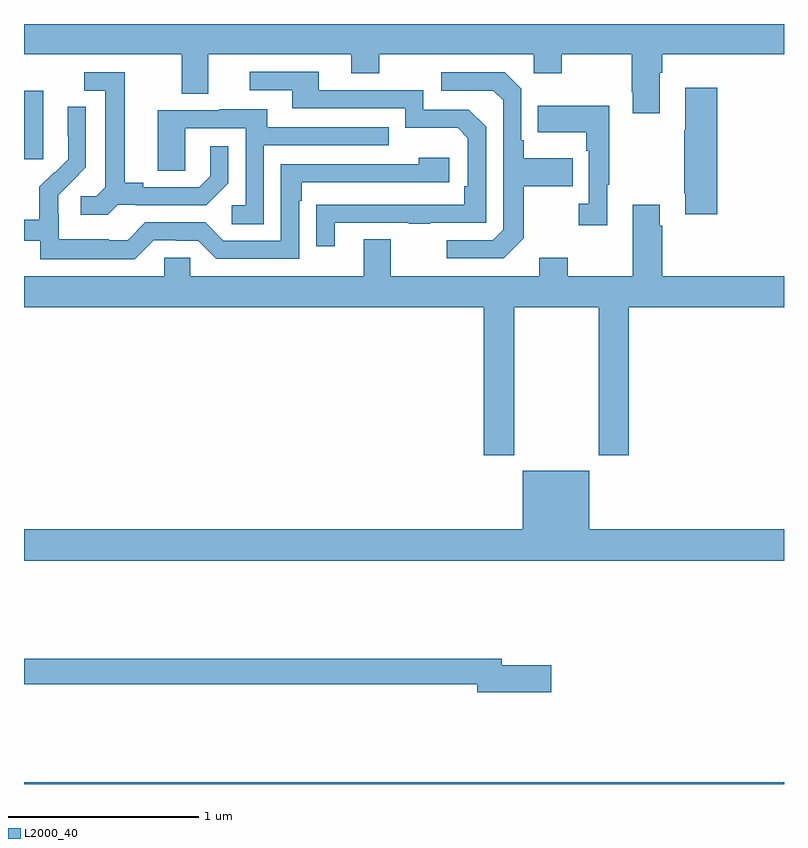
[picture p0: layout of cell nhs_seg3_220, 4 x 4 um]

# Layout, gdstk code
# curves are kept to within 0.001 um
import gdstk
lib = gdstk.Library(unit=1e-6, precision=1e-09)
def R(c, l, rs):  # rectangles x0, y0, x1, y1
    for r in rs: c.add(gdstk.rectangle(r[:2], r[2:], *l))
def P(c, l, *ps):  # polygons
    for p in ps: c.add(gdstk.Polygon(p, *l))
L2000_40 = (2000, 40)

nhs_seg3_220 = lib.new_cell('nhs_seg3_220')
R(nhs_seg3_220, L2000_40, [(121,706.4,125,706.408), (121,709.689,121.102,710.05)])
P(nhs_seg3_220, L2000_40, [(121,710.24),(121.829,710.24),(121.829,710.032),(121.969,710.032),(121.969,710.24),(122.723,710.24),(122.723,710.141),(122.871,710.141),(122.871,710.24),(123.684,710.24),(123.684,710.141),(123.831,710.141),(123.831,710.24),(124.198,710.24),(124.198,710.041),(124.205,710.041),(124.205,709.929),(124.345,709.929),(124.345,710.144),(124.358,710.144),(124.358,710.24),(125,710.24),(125,710.4),(121,710.4)],
  [(122.635,709.353),(123.025,709.353),(123.025,709.348),(123.137,709.348),(123.137,709.353),(123.432,709.353),(123.432,709.86),(123.342,709.95),(123.102,709.95),(123.102,710.052),(122.551,710.052),(122.551,710.148),(122.187,710.148),(122.187,710.052),(122.411,710.052),(122.411,709.956),(123.006,709.956),(123.006,709.853),(123.283,709.853),(123.336,709.8),(123.336,709.546),(123.316,709.546),(123.316,709.449),(122.539,709.448),(122.539,709.23),(122.635,709.23)],
  [(123.631,709.273),(123.631,709.546),(123.887,709.546),(123.887,709.693),(123.631,709.693),(123.631,709.789),(123.618,709.789),(123.618,710.058),(123.531,710.145),(123.195,710.145),(123.195,710.049),(123.471,710.049),(123.522,709.998),(123.522,709.317),(123.468,709.263),(123.225,709.263),(123.225,709.167),(123.525,709.167)],
  [(121.494,709.449),(121.588,709.449),(121.588,709.446),(121.96,709.446),(122.076,709.562),(122.076,709.756),(121.979,709.756),(121.979,709.599),(121.922,709.542),(121.627,709.542),(121.627,709.565),(121.531,709.565),(121.531,710.145),(121.317,710.145),(121.317,710.049),(121.427,710.049),(121.427,709.541),(121.38,709.494),(121.299,709.494),(121.299,709.397),(121.442,709.397)],
  [(124.649,710.065),(124.481,710.065),(124.481,709.841),(124.474,709.841),(124.474,709.51),(124.481,709.51),(124.481,709.398),(124.649,709.398)],
  [(124.069,709.553),(124.081,709.553),(124.081,709.969),(123.703,709.969),(123.703,709.829),(123.96,709.829),(123.96,709.733),(123.972,709.733),(123.972,709.454),(123.921,709.454),(123.921,709.341),(124.069,709.341)],
  [(121.683,709.263),(121.799,709.263),(121.799,709.26),(121.917,709.26),(122.013,709.164),(122.448,709.164),(122.448,709.469),(122.461,709.469),(122.461,709.566),(123.238,709.566),(123.238,709.696),(123.077,709.696),(123.077,709.662),(122.352,709.662),(122.352,709.26),(122.049,709.26),(121.953,709.356),(121.638,709.356),(121.545,709.263),(121.445,709.263),(121.445,709.267),(121.182,709.267),(121.182,709.401),(121.18,709.401),(121.18,709.498),(121.326,709.646),(121.326,709.964),(121.23,709.964),(121.23,709.81),(121.232,709.81),(121.232,709.688),(121.161,709.617),(121.158,709.62),(121.081,709.543),(121.081,709.369),(121,709.369),(121,709.26),(121.086,709.26),(121.086,709.163),(121.583,709.163)],
  [(122.262,709.761),(122.921,709.761),(122.921,709.857),(122.281,709.857),(122.281,709.951),(122.027,709.951),(122.027,709.947),(121.703,709.947),(121.703,709.627),(121.848,709.627),(121.848,709.851),(122.166,709.851),(122.166,709.446),(122.094,709.446),(122.094,709.345),(122.262,709.345)],
  [(123.579,708.908),(124.024,708.908),(124.024,708.129),(124.184,708.129),(124.184,708.908),(125,708.908),(125,709.072),(124.358,709.072),(124.358,709.337),(124.345,709.337),(124.345,709.45),(124.205,709.45),(124.205,709.072),(123.861,709.072),(123.861,709.171),(123.713,709.171),(123.713,709.072),(122.929,709.072),(122.929,709.267),(122.789,709.267),(122.789,709.072),(121.875,709.072),(121.875,709.17),(121.737,709.17),(121.737,709.072),(121,709.072),(121,708.908),(123.419,708.908),(123.419,708.129),(123.579,708.129)],
  [(125,707.74),(123.976,707.74),(123.976,708.049),(123.626,708.049),(123.626,707.74),(121,707.74),(121,707.576),(125,707.576)],
  [(123.775,707.024),(123.514,707.024),(123.514,707.06),(121,707.06),(121,706.924),(123.386,706.924),(123.386,706.882),(123.775,706.882)])

lib.write_gds('nhs_seg3_220.gds')
